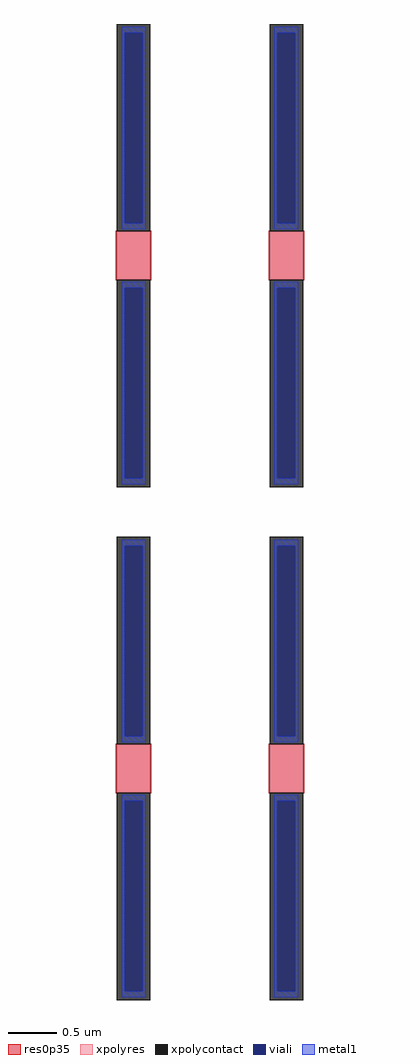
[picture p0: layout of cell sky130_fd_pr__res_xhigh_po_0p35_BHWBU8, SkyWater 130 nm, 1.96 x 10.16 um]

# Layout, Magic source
magic
tech sky130A
magscale 1 2
<< xpolycontact >>
rect -194 584 -124 1016
rect -194 52 -124 484
rect 124 584 194 1016
rect 124 52 194 484
rect -194 -484 -124 -52
rect -194 -1016 -124 -584
rect 124 -484 194 -52
rect 124 -1016 194 -584
<< xpolyres >>
rect -194 484 -124 584
rect 124 484 194 584
rect -194 -584 -124 -484
rect 124 -584 194 -484
<< viali >>
rect -178 601 -140 998
rect 140 601 178 998
rect -178 70 -140 467
rect 140 70 178 467
rect -178 -467 -140 -70
rect 140 -467 178 -70
rect -178 -998 -140 -601
rect 140 -998 178 -601
<< metal1 >>
rect -184 998 -134 1010
rect -184 601 -178 998
rect -140 601 -134 998
rect -184 589 -134 601
rect 134 998 184 1010
rect 134 601 140 998
rect 178 601 184 998
rect 134 589 184 601
rect -184 467 -134 479
rect -184 70 -178 467
rect -140 70 -134 467
rect -184 58 -134 70
rect 134 467 184 479
rect 134 70 140 467
rect 178 70 184 467
rect 134 58 184 70
rect -184 -70 -134 -58
rect -184 -467 -178 -70
rect -140 -467 -134 -70
rect -184 -479 -134 -467
rect 134 -70 184 -58
rect 134 -467 140 -70
rect 178 -467 184 -70
rect 134 -479 184 -467
rect -184 -601 -134 -589
rect -184 -998 -178 -601
rect -140 -998 -134 -601
rect -184 -1010 -134 -998
rect 134 -601 184 -589
rect 134 -998 140 -601
rect 178 -998 184 -601
rect 134 -1010 184 -998
<< res0p35 >>
rect -196 482 -122 586
rect 122 482 196 586
rect -196 -586 -122 -482
rect 122 -586 196 -482
<< properties >>
string gencell sky130_fd_pr__res_xhigh_po_0p35
string library sky130
string parameters w 0.350 l 0.5 m 2 nx 2 wmin 0.350 lmin 0.50 rho 2000 val 3.932k dummy 0 dw 0.0 term 188.2 sterm 0.0 caplen 0 wmax 0.350 guard 0 glc 0 grc 0 gtc 0 gbc 0 compatible {sky130_fd_pr__res_xhigh_po_0p35  sky130_fd_pr__res_xhigh_po_0p69 sky130_fd_pr__res_xhigh_po_1p41  sky130_fd_pr__res_xhigh_po_2p85 sky130_fd_pr__res_xhigh_po_5p73} full_metal 0 n_guard 0 hv_guard 0 vias 1 viagb 0 viagt 0 viagl 0 viagr 0
<< end >>
